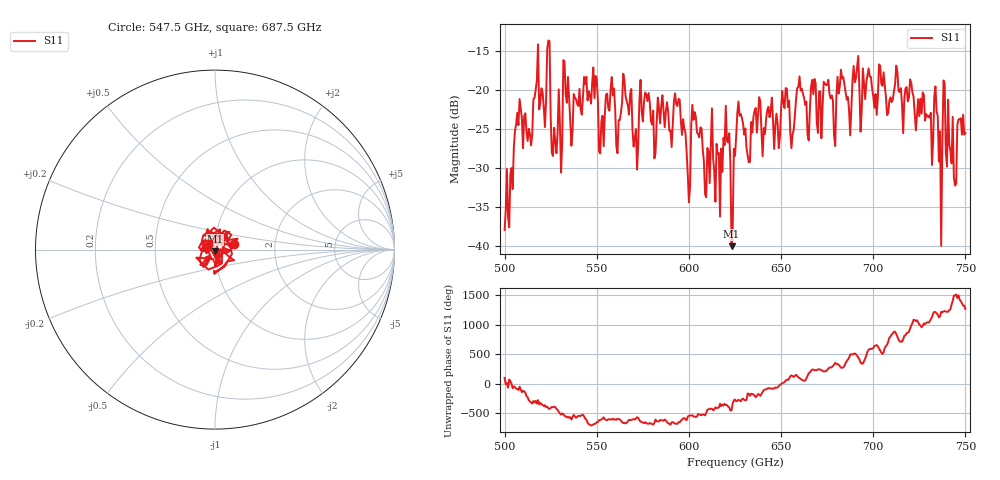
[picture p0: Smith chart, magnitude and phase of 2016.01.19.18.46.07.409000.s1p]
!Created with skrf (http://scikit-rf.org).
# GHz S RI R 50.0
!freq ReS11 ImS11
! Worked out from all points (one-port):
!   401 points, 500 GHz to 750 GHz, reference 50 ohm
!   lowest |S11| = -40.0 dB at 623.1 GHz (marker M1), VSWR 1.02, Z = 50 - j1 ohm
!   |S11| at or under -10 dB: start of sweep to end of sweep
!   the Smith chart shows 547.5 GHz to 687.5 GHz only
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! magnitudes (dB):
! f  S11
! 500 GHz  -37.9
! 506.9 GHz  -22.9
! 513.8 GHz  -25.6
! 516.9 GHz  -19.9
! 523.8 GHz  -13.6
! 526.9 GHz  -24.8
! 531.2 GHz  -26.8
! 548.8 GHz  -21.0
! 552.5 GHz  -24.0
! 558.1 GHz  -18.3
! 562.5 GHz  -23.8
! 593.8 GHz  -22.0
! 599.4 GHz  -30.8
! 602.5 GHz  -23.8
! 610 GHz  -27.4
! 620.6 GHz  -26.5
! 623.1 GHz  -40.0
! 625 GHz  -28.4
! 627.5 GHz  -23.3
! 656.2 GHz  -25.6
! 660 GHz  -18.2
! 687.5 GHz  -25.8
! 718.8 GHz  -21.4
! 733.8 GHz  -19.5
! 736.2 GHz  -25.2
! 739.4 GHz  -27.9
! 743.8 GHz  -31.2
! 750 GHz  -25.5
